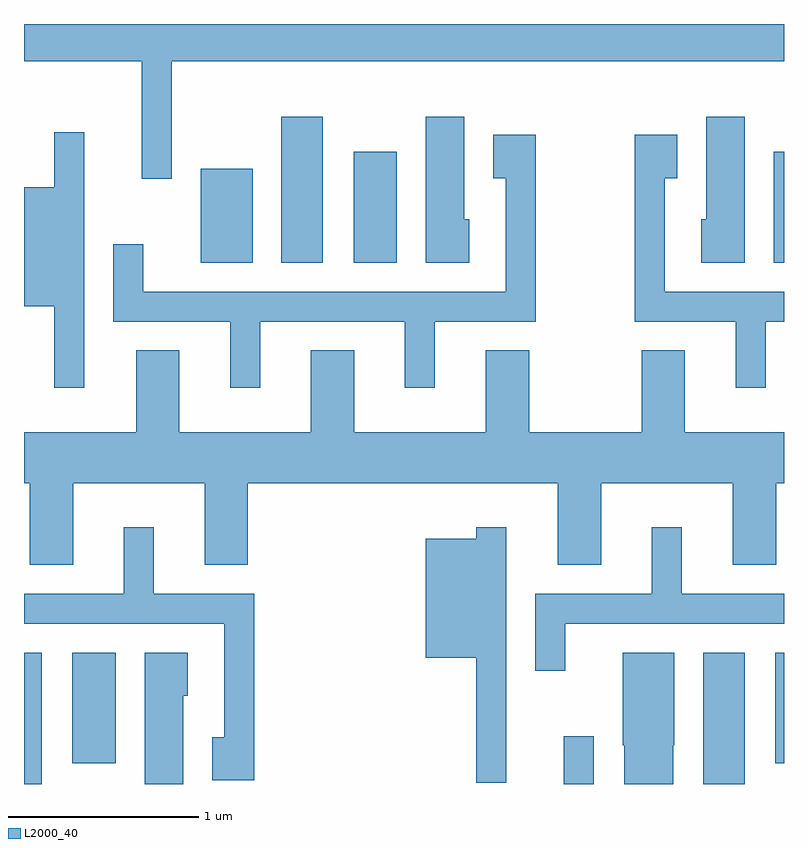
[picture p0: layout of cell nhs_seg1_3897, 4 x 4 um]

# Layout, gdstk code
import gdstk
lib = gdstk.Library(unit=1e-6, precision=1e-09)
def R(c, l, rs):  # rectangles x0, y0, x1, y1
    for r in rs: c.add(gdstk.rectangle(r[:2], r[2:], *l))
def P(c, l, *ps):  # polygons
    for p in ps: c.add(gdstk.Polygon(p, *l))
L2000_40 = (2000, 40)

nhs_seg1_3897 = lib.new_cell('nhs_seg1_3897')
R(nhs_seg1_3897, L2000_40, [(301.611,955.712,301.704,956.404), (304.451,955.712,304.609,955.963), (305.186,955.712,305.404,956.404), (301.866,955.821,302.094,956.404), (305.566,955.821,305.611,956.404), (302.541,958.456,302.814,958.949), (302.966,958.456,303.184,959.224), (303.346,958.456,303.574,959.039), (305.556,958.456,305.611,959.039)])
P(nhs_seg1_3897, L2000_40, [(302.389,959.516),(305.611,959.516),(305.611,959.712),(301.611,959.712),(301.611,959.516),(302.231,959.516),(302.231,958.898),(302.389,958.898)],
  [(303.954,958.684),(303.929,958.684),(303.929,959.224),(303.726,959.224),(303.726,958.456),(303.954,958.456)],
  [(305.404,959.224),(305.201,959.224),(305.201,958.684),(305.176,958.684),(305.176,958.456),(305.404,958.456)],
  [(301.929,959.143),(301.771,959.143),(301.771,958.854),(301.611,958.854),(301.611,958.226),(301.771,958.226),(301.771,957.798),(301.929,957.798)],
  [(305.514,958.146),(305.611,958.146),(305.611,958.304),(304.984,958.304),(304.984,958.901),(305.049,958.901),(305.049,959.129),(304.826,959.129),(304.826,958.146),(305.356,958.146),(305.356,957.798),(305.514,957.798)],
  [(302.854,958.146),(303.616,958.146),(303.616,957.798),(303.774,957.798),(303.774,958.146),(304.304,958.146),(304.304,959.129),(304.081,959.129),(304.081,958.901),(304.146,958.901),(304.146,958.304),(302.239,958.304),(302.239,958.553),(302.081,958.553),(302.081,958.146),(302.696,958.146),(302.696,957.798),(302.854,957.798)],
  [(305.089,957.994),(304.861,957.994),(304.861,957.564),(304.269,957.564),(304.269,957.994),(304.041,957.994),(304.041,957.564),(303.349,957.564),(303.349,957.994),(303.121,957.994),(303.121,957.564),(302.429,957.564),(302.429,957.994),(302.201,957.994),(302.201,957.564),(301.611,957.564),(301.611,957.296),(301.641,957.296),(301.641,956.866),(301.869,956.866),(301.869,957.296),(302.561,957.296),(302.561,956.866),(302.789,956.866),(302.789,957.296),(304.421,957.296),(304.421,956.866),(304.649,956.866),(304.649,957.296),(305.341,957.296),(305.341,956.866),(305.569,956.866),(305.569,957.296),(305.611,957.296),(305.611,957.564),(305.089,957.564)],
  [(302.824,956.714),(302.294,956.714),(302.294,957.063),(302.136,957.063),(302.136,956.714),(301.611,956.714),(301.611,956.556),(302.666,956.556),(302.666,955.959),(302.601,955.959),(302.601,955.731),(302.824,955.731)],
  [(304.149,957.063),(303.991,957.063),(303.991,957.004),(303.726,957.004),(303.726,956.376),(303.991,956.376),(303.991,955.718),(304.149,955.718)],
  [(304.459,956.556),(305.611,956.556),(305.611,956.714),(305.074,956.714),(305.074,957.063),(304.916,957.063),(304.916,956.714),(304.301,956.714),(304.301,956.308),(304.459,956.308)],
  [(305.029,955.915),(305.034,955.915),(305.034,956.404),(304.761,956.404),(304.761,955.915),(304.771,955.915),(304.771,955.712),(305.029,955.712)],
  [(302.449,956.176),(302.474,956.176),(302.474,956.404),(302.246,956.404),(302.246,955.712),(302.449,955.712)])

lib.write_gds('nhs_seg1_3897.gds')
